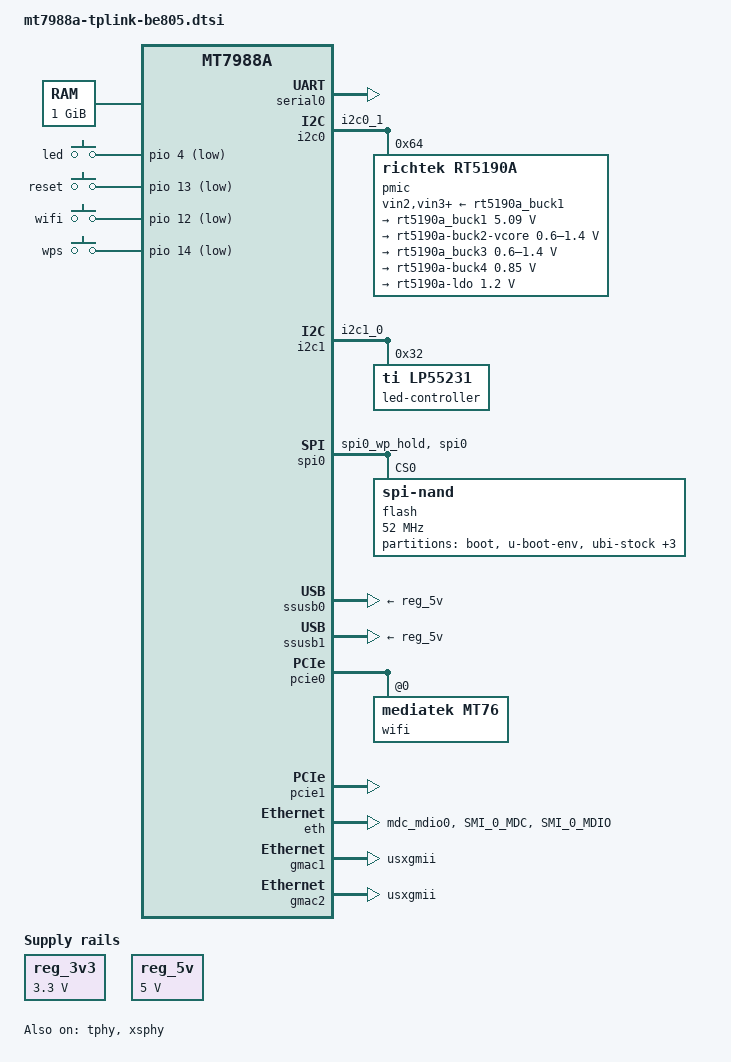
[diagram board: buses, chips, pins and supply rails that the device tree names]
// SPDX-License-Identifier: GPL-2.0-or-later OR MIT
// Author: Yanase Yuki <dev@zpc.st>
/dts-v1/;
#include "mt7988a.dtsi"
#include <dt-bindings/gpio/gpio.h>
#include <dt-bindings/input/input.h>
#include <dt-bindings/leds/common.h>
#include <dt-bindings/regulator/richtek,rt5190a-regulator.h>

/ {
	compatible = "tplink,be805", "mediatek,mt7988a";
	chassis-type = "embedded";

	aliases {
		serial0 = &serial0;
		label-mac-device = &gmac0;
		led-boot = &led_center_blue;
		led-failsafe = &led_center_red;
		led-running = &led_center_green;
		led-upgrade = &led_center_red;
	};

	chosen {
		bootargs = "root=/dev/fit0 rootwait";
		rootdisk = <&ubi_rootdisk>;
		stdout-path = "serial0:115200n8";
	};

	memory@40000000 {
		device_type = "memory";
		reg = <0x0 0x40000000 0x0 0x40000000>;
	};

	gpio-keys {
		compatible = "gpio-keys";

		led-button {
			gpios = <&pio 4 GPIO_ACTIVE_LOW>;
			label = "led";
			linux,code = <BTN_0>;
		};

		reset-button {
			gpios = <&pio 13 GPIO_ACTIVE_LOW>;
			label = "reset";
			linux,code = <KEY_RESTART>;
		};

		wifi-button {
			gpios = <&pio 12 GPIO_ACTIVE_LOW>;
			label = "wifi";
			linux,code = <KEY_WLAN>;
		};

		wps-button {
			gpios = <&pio 14 GPIO_ACTIVE_LOW>;
			label = "wps";
			linux,code = <KEY_WPS_BUTTON>;
		};
	};

	reg_3v3: regulator-3v3 {
		compatible = "regulator-fixed";
		regulator-name = "USB 3V3";
		regulator-min-microvolt = <3300000>;
		regulator-max-microvolt = <3300000>;
		regulator-always-on;
	};

	reg_5v: regulator-5v {
		compatible = "regulator-fixed";
		regulator-name = "USB 5V";
		regulator-min-microvolt = <5000000>;
		regulator-max-microvolt = <5000000>;
		regulator-always-on;
	};
};

&cci {
	proc-supply = <&rt5190a_buck3>;
};

&cpu0 {
	proc-supply = <&rt5190a_buck3>;
};

&cpu1 {
	proc-supply = <&rt5190a_buck3>;
};

&cpu2 {
	proc-supply = <&rt5190a_buck3>;
};

&cpu3 {
	proc-supply = <&rt5190a_buck3>;
};

&pio {
	i2c0_pins: i2c0-pins {
		mux {
			function = "i2c";
			groups = "i2c0_1";
		};
	};

	i2c1_pins: i2c1-pins {
		mux {
			function = "i2c";
			groups = "i2c1_0";
		};
	};

	mdio0_pins: mdio0-pins {
		mux {
			function = "eth";
			groups = "mdc_mdio0";
		};

		conf {
			pins = "SMI_0_MDC", "SMI_0_MDIO";
			drive-strength = <8>;
		};
	};

	spi0_pins: spi0-pins {
		mux {
			function = "spi";
			groups = "spi0_wp_hold", "spi0";
		};
	};
};

&serial0 {
	status = "okay";
};

&i2c0 {
	status = "okay";
	pinctrl-names = "default";
	pinctrl-0 = <&i2c0_pins>;

	pmic@64 {
		compatible = "richtek,rt5190a";
		reg = <0x64>;

		vin2-supply = <&rt5190a_buck1>;
		vin3-supply = <&rt5190a_buck1>;
		vin4-supply = <&rt5190a_buck1>;

		regulators {
			rt5190a_buck1: buck1 {
				regulator-name = "rt5190a-buck1";
				regulator-min-microvolt = <5090000>;
				regulator-max-microvolt = <5090000>;
				regulator-always-on;
				regulator-allowed-modes = <RT5190A_OPMODE_AUTO RT5190A_OPMODE_FPWM>;
			};

			buck2 {
				regulator-name = "rt5190a-buck2-vcore";
				regulator-min-microvolt = <600000>;
				regulator-max-microvolt = <1400000>;
				regulator-always-on;
			};

			rt5190a_buck3: buck3 {
				regulator-name = "rt5190a-buck3-proc";
				regulator-min-microvolt = <600000>;
				regulator-max-microvolt = <1400000>;
				regulator-always-on;
			};

			buck4 {
				regulator-name = "rt5190a-buck4";
				regulator-min-microvolt = <850000>;
				regulator-max-microvolt = <850000>;
				regulator-always-on;
				regulator-allowed-modes = <RT5190A_OPMODE_AUTO RT5190A_OPMODE_FPWM>;
			};

			ldo {
				regulator-name = "rt5190a-ldo";
				regulator-min-microvolt = <1200000>;
				regulator-max-microvolt = <1200000>;
				regulator-always-on;
			};
		};
	};
};

&i2c1 {
	status = "okay";
	pinctrl-names = "default";
	pinctrl-0 = <&i2c1_pins>;

	led-controller@32 {
		compatible = "ti,lp55231";
		reg = <0x32>;
		#address-cells = <1>;
		#size-cells = <0>;

		clock-mode = /bits/ 8 <1>;

		led_center_blue: led@0 {
			reg = <0>;
			color = <LED_COLOR_ID_BLUE>;
			led-cur = /bits/ 8 <0x14>;
			max-cur = /bits/ 8 <0x20>;
			chan-name = "led-center-blue";
		};

		led@1 {
			reg = <1>;
			color = <LED_COLOR_ID_BLUE>;
			led-cur = /bits/ 8 <0x14>;
			max-cur = /bits/ 8 <0x20>;
			chan-name = "led-left-blue";
		};

		led@2 {
			reg = <2>;
			color = <LED_COLOR_ID_BLUE>;
			led-cur = /bits/ 8 <0x14>;
			max-cur = /bits/ 8 <0x20>;
			chan-name = "led-right-blue";
		};

		led_center_green: led@3 {
			reg = <3>;
			color = <LED_COLOR_ID_GREEN>;
			led-cur = /bits/ 8 <0x14>;
			max-cur = /bits/ 8 <0x20>;
			chan-name = "led-center-green";
		};

		led@4 {
			reg = <4>;
			color = <LED_COLOR_ID_GREEN>;
			led-cur = /bits/ 8 <0x14>;
			max-cur = /bits/ 8 <0x20>;
			chan-name = "led-left-green";
		};

		led@5 {
			reg = <5>;
			color = <LED_COLOR_ID_GREEN>;
			led-cur = /bits/ 8 <0x14>;
			max-cur = /bits/ 8 <0x20>;
			chan-name = "led-right-green";
		};

		led_center_red: led@6 {
			reg = <6>;
			color = <LED_COLOR_ID_RED>;
			led-cur = /bits/ 8 <0x14>;
			max-cur = /bits/ 8 <0x20>;
			chan-name = "led-center-red";
		};

		led@7 {
			reg = <7>;
			color = <LED_COLOR_ID_RED>;
			led-cur = /bits/ 8 <0x14>;
			max-cur = /bits/ 8 <0x20>;
			chan-name = "led-left-red";
		};

		led@8 {
			reg = <8>;
			color = <LED_COLOR_ID_RED>;
			led-cur = /bits/ 8 <0x14>;
			max-cur = /bits/ 8 <0x20>;
			chan-name = "led-right-red";
		};
	};
};

&spi0 {
	status = "okay";
	pinctrl-names = "default";
	pinctrl-0 = <&spi0_pins>;

	flash: flash@0 {
		compatible = "spi-nand";
		reg = <0>;

		// half of the max rating (104 MHz)
		spi-max-frequency = <52000000>;
		spi-tx-bus-width = <4>;
		spi-rx-bus-width = <4>;

		nand-ecc-engine = <&flash>;

		// use stock firmware's value
		spi-cal-enable;
		spi-cal-mode = "read-data";
		spi-cal-datalen = <7>;
		spi-cal-data = /bits/ 8 <0x53 0x50 0x49 0x4e 0x41 0x4e 0x44>;
		spi-cal-addrlen = <5>;
		spi-cal-addr = <0 0 0 0 0>;
	};
};

&ssusb0 {
	status = "okay";
	vusb33-supply = <&reg_3v3>;
	vbus-supply = <&reg_5v>;
};

&ssusb1 {
	status = "okay";
	vusb33-supply = <&reg_3v3>;
	vbus-supply = <&reg_5v>;
};

&pcie0 {
	status = "okay";

	pcie@0,0 {
		reg = <0x0000 0 0 0 0>;
		#address-cells = <3>;
		#size-cells = <2>;

		wifi@0,0 {
			compatible = "mediatek,mt76";
			reg = <0x0000 0 0 0 0>;

			nvmem-cells = <&mt7996_eeprom>, <&mac_base (-1)>;
			nvmem-cell-names = "eeprom", "mac-address";
		};
	};
};

&pcie1 {
	status = "okay";
};

&tphy {
	status = "okay";
};

&xsphy {
	status = "okay";
};

&gsw_port0 {
	label = "lan1";
};

&gsw_port1 {
	label = "lan2";
};

&gsw_port2 {
	label = "lan4";
};

&gsw_port3 {
	label = "lan3";
};

&eth {
	pinctrl-names = "default";
	pinctrl-0 = <&mdio0_pins>;
};

&gmac0 {
	nvmem-cells = <&mac_base 0>;
	nvmem-cell-names = "mac-address";
};

&gmac1 {
	status = "okay";
	nvmem-cells = <&mac_base 1>;
	nvmem-cell-names = "mac-address";
	phy-connection-type = "usxgmii";
	label = "lan";
};

&gmac2 {
	status = "okay";
	nvmem-cells = <&mac_base 2>;
	nvmem-cell-names = "mac-address";
	phy-connection-type = "usxgmii";
	label = "wan";
};

&flash {
	partitions {
		compatible = "fixed-partitions";
		#address-cells = <1>;
		#size-cells = <1>;

		partition@0 {
			reg = <0x0 0x200000>;
			label = "boot";
			read-only;
		};

		partition@200000 {
			reg = <0x200000 0x100000>;
			label = "u-boot-env";
			read-only;

			nvmem-layout {
				compatible = "u-boot,env";
				env-size = <0x20000>;

				mac_base: ethaddr {
					#nvmem-cell-cells = <1>;
				};
			};
		};

		partition@300000 {
			reg = <0x300000 0x3200000>;
			label = "ubi-stock";
		};

		partition@3500000 {
			compatible = "linux,ubi";
			reg = <0x3500000 0x3200000>;
			label = "ubi";

			volumes {
				ubi-volume-eeprom {
					volname = "eeprom";

					nvmem-layout {
						compatible = "fixed-layout";
						#address-cells = <1>;
						#size-cells = <1>;

						mt7996_eeprom: eeprom@0 {
							reg = <0x0 0x1e00>;
						};
					};
				};

				ubi_rootdisk: ubi-volume-fit {
					volname = "fit";
				};
			};
		};

		partition@6700000 {
			reg = <0x6700000 0x800000>;
			label = "userconfig";
			read-only;
		};

		partition@6f00000 {
			reg = <0x6f00000 0x800000>;
			label = "tp_data";
			read-only;
		};
	};
};

